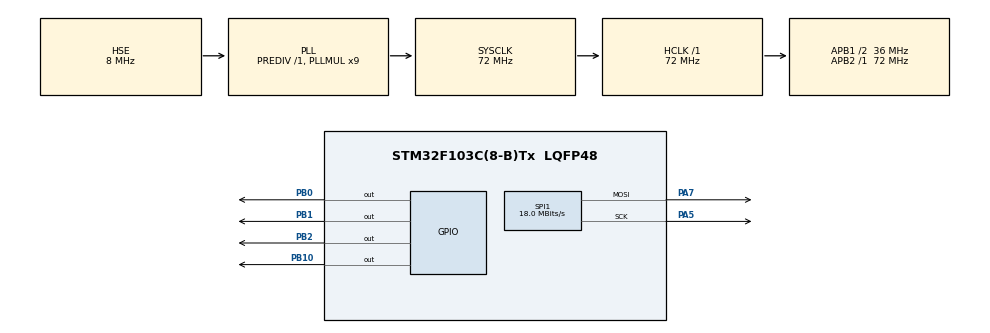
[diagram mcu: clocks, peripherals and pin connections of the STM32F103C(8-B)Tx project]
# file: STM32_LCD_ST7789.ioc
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Mcu.Family=STM32F1
Mcu.Name=STM32F103C(8-B)Tx
Mcu.Package=LQFP48
NVIC.PriorityGroup=NVIC_PRIORITYGROUP_4
NVIC.SPI1_IRQn=true\:0\:0\:false\:false\:true\:true\:true\:true
PA13.Mode=Serial_Wire
PA13.Signal=SYS_JTMS-SWDIO
PA14.Mode=Serial_Wire
PA14.Signal=SYS_JTCK-SWCLK
PA5.Mode=TX_Only_Simplex_Unidirect_Master
PA5.Signal=SPI1_SCK
PA7.Mode=TX_Only_Simplex_Unidirect_Master
PA7.Signal=SPI1_MOSI
PB0.GPIO_Speed=GPIO_SPEED_FREQ_HIGH
PB0.PinState=GPIO_PIN_SET
PB0.Signal=GPIO_Output
PB1.GPIO_Speed=GPIO_SPEED_FREQ_HIGH
PB1.PinState=GPIO_PIN_SET
PB1.Signal=GPIO_Output
PB10.GPIO_Speed=GPIO_SPEED_FREQ_HIGH
PB10.PinState=GPIO_PIN_SET
PB10.Signal=GPIO_Output
PB2.GPIO_Speed=GPIO_SPEED_FREQ_HIGH
PB2.PinState=GPIO_PIN_SET
PB2.Signal=GPIO_Output
PD0-OSC_IN.Mode=HSE-External-Oscillator
PD0-OSC_IN.Signal=RCC_OSC_IN
PD1-OSC_OUT.Mode=HSE-External-Oscillator
PD1-OSC_OUT.Signal=RCC_OSC_OUT
ProjectManager.HeapSize=0x200
ProjectManager.StackSize=0x400
ProjectManager.TargetToolchain=STM32CubeIDE
RCC.AHBFreq_Value=72000000
RCC.APB1CLKDivider=RCC_HCLK_DIV2
RCC.APB1Freq_Value=36000000
RCC.APB1TimFreq_Value=72000000
RCC.APB2Freq_Value=72000000
RCC.APB2TimFreq_Value=72000000
RCC.HCLKFreq_Value=72000000
RCC.PLLMUL=RCC_PLL_MUL9
RCC.PLLSourceVirtual=RCC_PLLSOURCE_HSE
RCC.SYSCLKFreq_VALUE=72000000
RCC.SYSCLKSource=RCC_SYSCLKSOURCE_PLLCLK
RCC.USBFreq_Value=72000000
SPI1.BaudRatePrescaler=SPI_BAUDRATEPRESCALER_4
SPI1.CalculateBaudRate=18.0 MBits/s
SPI1.Direction=SPI_DIRECTION_2LINES
SPI1.Mode=SPI_MODE_MASTER
SPI1.VirtualType=VM_MASTER
board=custom

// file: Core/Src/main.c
/* USER CODE BEGIN Header */
/**
  ******************************************************************************
  * @file           : main.c
  * @brief          : Main program body
  ******************************************************************************
  * @attention
  *
  * Copyright (c) 2024 STMicroelectronics.
  * All rights reserved.
  *
  * This software is licensed under terms that can be found in the LICENSE file
  * in the root directory of this software component.
  * If no LICENSE file comes with this software, it is provided AS-IS.
  *
  ******************************************************************************
  */
/* USER CODE END Header */
#include "main.h"

/* USER CODE BEGIN Includes */
#include "../../../lib/drivers/display/st7789/st7789.h"
#include "../../../lib/drivers/display/st7789/fonts.h"
#include "EmbedGLCD_GFX.h"
/* USER CODE END Includes */

/* USER CODE BEGIN PTD */
const uint16_t Font7x10 [] = {
0x0000, 0x0000, 0x0000, 0x0000, 0x0000, 0x0000, 0x0000, 0x0000, 0x0000, 0x0000,  // sp
0x1000, 0x1000, 0x1000, 0x1000, 0x1000, 0x1000, 0x0000, 0x1000, 0x0000, 0x0000,  // !
0x2800, 0x2800, 0x2800, 0x0000, 0x0000, 0x0000, 0x0000, 0x0000, 0x0000, 0x0000,  // "
0x2400, 0x2400, 0x7C00, 0x2400, 0x4800, 0x7C00, 0x4800, 0x4800, 0x0000, 0x0000,  // #
0x3800, 0x5400, 0x5000, 0x3800, 0x1400, 0x5400, 0x5400, 0x3800, 0x1000, 0x0000,  // $
0x2000, 0x5400, 0x5800, 0x3000, 0x2800, 0x5400, 0x1400, 0x0800, 0x0000, 0x0000,  // %
0x1000, 0x2800, 0x2800, 0x1000, 0x3400, 0x4800, 0x4800, 0x3400, 0x0000, 0x0000,  // &
0x1000, 0x1000, 0x1000, 0x0000, 0x0000, 0x0000, 0x0000, 0x0000, 0x0000, 0x0000,  // '
0x0800, 0x1000, 0x2000, 0x2000, 0x2000, 0x2000, 0x2000, 0x2000, 0x1000, 0x0800,  // (
0x2000, 0x1000, 0x0800, 0x0800, 0x0800, 0x0800, 0x0800, 0x0800, 0x1000, 0x2000,  // )
0x1000, 0x3800, 0x1000, 0x2800, 0x0000, 0x0000, 0x0000, 0x0000, 0x0000, 0x0000,  // *
0x0000, 0x0000, 0x1000, 0x1000, 0x7C00, 0x1000, 0x1000, 0x0000, 0x0000, 0x0000,  // +
0x0000, 0x0000, 0x0000, 0x0000, 0x0000, 0x0000, 0x0000, 0x1000, 0x1000, 0x1000,  // ,
0x0000, 0x0000, 0x0000, 0x0000, 0x0000, 0x3800, 0x0000, 0x0000, 0x0000, 0x0000,  // -
0x0000, 0x0000, 0x0000, 0x0000, 0x0000, 0x0000, 0x0000, 0x1000, 0x0000, 0x0000,  // .
0x0800, 0x0800, 0x1000, 0x1000, 0x1000, 0x1000, 0x2000, 0x2000, 0x0000, 0x0000,  // /
0x3800, 0x4400, 0x4400, 0x5400, 0x4400, 0x4400, 0x4400, 0x3800, 0x0000, 0x0000,  // 0
0x1000, 0x3000, 0x5000, 0x1000, 0x1000, 0x1000, 0x1000, 0x1000, 0x0000, 0x0000,  // 1
0x3800, 0x4400, 0x4400, 0x0400, 0x0800, 0x1000, 0x2000, 0x7C00, 0x0000, 0x0000,  // 2
0x3800, 0x4400, 0x0400, 0x1800, 0x0400, 0x0400, 0x4400, 0x3800, 0x0000, 0x0000,  // 3
0x0800, 0x1800, 0x2800, 0x2800, 0x4800, 0x7C00, 0x0800, 0x0800, 0x0000, 0x0000,  // 4
0x7C00, 0x4000, 0x4000, 0x7800, 0x0400, 0x0400, 0x4400, 0x3800, 0x0000, 0x0000,  // 5
0x3800, 0x4400, 0x4000, 0x7800, 0x4400, 0x4400, 0x4400, 0x3800, 0x0000, 0x0000,  // 6
0x7C00, 0x0400, 0x0800, 0x1000, 0x1000, 0x2000, 0x2000, 0x2000, 0x0000, 0x0000,  // 7
0x3800, 0x4400, 0x4400, 0x3800, 0x4400, 0x4400, 0x4400, 0x3800, 0x0000, 0x0000,  // 8
0x3800, 0x4400, 0x4400, 0x4400, 0x3C00, 0x0400, 0x4400, 0x3800, 0x0000, 0x0000,  // 9
0x0000, 0x0000, 0x1000, 0x0000, 0x0000, 0x0000, 0x0000, 0x1000, 0x0000, 0x0000,  // :
0x0000, 0x0000, 0x0000, 0x1000, 0x0000, 0x0000, 0x0000, 0x1000, 0x1000, 0x1000,  // ;
0x0000, 0x0000, 0x0C00, 0x3000, 0x4000, 0x3000, 0x0C00, 0x0000, 0x0000, 0x0000,  // <
0x0000, 0x0000, 0x0000, 0x7C00, 0x0000, 0x7C00, 0x0000, 0x0000, 0x0000, 0x0000,  // =
0x0000, 0x0000, 0x6000, 0x1800, 0x0400, 0x1800, 0x6000, 0x0000, 0x0000, 0x0000,  // >
0x3800, 0x4400, 0x0400, 0x0800, 0x1000, 0x1000, 0x0000, 0x1000, 0x0000, 0x0000,  // ?
0x3800, 0x4400, 0x4C00, 0x5400, 0x5C00, 0x4000, 0x4000, 0x3800, 0x0000, 0x0000,  // @
0x1000, 0x2800, 0x2800, 0x2800, 0x2800, 0x7C00, 0x4400, 0x4400, 0x0000, 0x0000,  // A
0x7800, 0x4400, 0x4400, 0x7800, 0x4400, 0x4400, 0x4400, 0x7800, 0x0000, 0x0000,  // B
0x3800, 0x4400, 0x4000, 0x4000, 0x4000, 0x4000, 0x4400, 0x3800, 0x0000, 0x0000,  // C
0x7000, 0x4800, 0x4400, 0x4400, 0x4400, 0x4400, 0x4800, 0x7000, 0x0000, 0x0000,  // D
0x7C00, 0x4000, 0x4000, 0x7C00, 0x4000, 0x4000, 0x4000, 0x7C00, 0x0000, 0x0000,  // E
0x7C00, 0x4000, 0x4000, 0x7800, 0x4000, 0x4000, 0x4000, 0x4000, 0x0000, 0x0000,  // F
0x3800, 0x4400, 0x4000, 0x4000, 0x5C00, 0x4400, 0x4400, 0x3800, 0x0000, 0x0000,  // G
0x4400, 0x4400, 0x4400, 0x7C00, 0x4400, 0x4400, 0x4400, 0x4400, 0x0000, 0x0000,  // H
0x3800, 0x1000, 0x1000, 0x1000, 0x1000, 0x1000, 0x1000, 0x3800, 0x0000, 0x0000,  // I
0x0400, 0x0400, 0x0400, 0x0400, 0x0400, 0x0400, 0x4400, 0x3800, 0x0000, 0x0000,  // J
0x4400, 0x4800, 0x5000, 0x6000, 0x5000, 0x4800, 0x4800, 0x4400, 0x0000, 0x0000,  // K
0x4000, 0x4000, 0x4000, 0x4000, 0x4000, 0x4000, 0x4000, 0x7C00, 0x0000, 0x0000,  // L
0x4400, 0x6C00, 0x6C00, 0x5400, 0x4400, 0x4400, 0x4400, 0x4400, 0x0000, 0x0000,  // M
0x4400, 0x6400, 0x6400, 0x5400, 0x5400, 0x4C00, 0x4C00, 0x4400, 0x0000, 0x0000,  // N
0x3800, 0x4400, 0x4400, 0x4400, 0x4400, 0x4400, 0x4400, 0x3800, 0x0000, 0x0000,  // O
0x7800, 0x4400, 0x4400, 0x4400, 0x7800, 0x4000, 0x4000, 0x4000, 0x0000, 0x0000,  // P
0x3800, 0x4400, 0x4400, 0x4400, 0x4400, 0x4400, 0x5400, 0x3800, 0x0400, 0x0000,  // Q
0x7800, 0x4400, 0x4400, 0x4400, 0x7800, 0x4800, 0x4800, 0x4400, 0x0000, 0x0000,  // R
0x3800, 0x4400, 0x4000, 0x3000, 0x0800, 0x0400, 0x4400, 0x3800, 0x0000, 0x0000,  // S
0x7C00, 0x1000, 0x1000, 0x1000, 0x1000, 0x1000, 0x1000, 0x1000, 0x0000, 0x0000,  // T
0x4400, 0x4400, 0x4400, 0x4400, 0x4400, 0x4400, 0x4400, 0x3800, 0x0000, 0x0000,  // U
0x4400, 0x4400, 0x4400, 0x2800, 0x2800, 0x2800, 0x1000, 0x1000, 0x0000, 0x0000,  // V
0x4400, 0x4400, 0x5400, 0x5400, 0x5400, 0x6C00, 0x2800, 0x2800, 0x0000, 0x0000,  // W
0x4400, 0x2800, 0x2800, 0x1000, 0x1000, 0x2800, 0x2800, 0x4400, 0x0000, 0x0000,  // X
0x4400, 0x4400, 0x2800, 0x2800, 0x1000, 0x1000, 0x1000, 0x1000, 0x0000, 0x0000,  // Y
0x7C00, 0x0400, 0x0800, 0x1000, 0x1000, 0x2000, 0x4000, 0x7C00, 0x0000, 0x0000,  // Z
0x1800, 0x1000, 0x1000, 0x1000, 0x1000, 0x1000, 0x1000, 0x1000, 0x1000, 0x1800,  // [
0x2000, 0x2000, 0x1000, 0x1000, 0x1000, 0x1000, 0x0800, 0x0800, 0x0000, 0x0000,  /* \ */
0x3000, 0x1000, 0x1000, 0x1000, 0x1000, 0x1000, 0x1000, 0x1000, 0x1000, 0x3000,  // ]
0x1000, 0x2800, 0x2800, 0x4400, 0x0000, 0x0000, 0x0000, 0x0000, 0x0000, 0x0000,  // ^
0x0000, 0x0000, 0x0000, 0x0000, 0x0000, 0x0000, 0x0000, 0x0000, 0x0000, 0xFE00,  // _
0x2000, 0x1000, 0x0000, 0x0000, 0x0000, 0x0000, 0x0000, 0x0000, 0x0000, 0x0000,  // `
0x0000, 0x0000, 0x3800, 0x4400, 0x3C00, 0x4400, 0x4C00, 0x3400, 0x0000, 0x0000,  // a
0x4000, 0x4000, 0x5800, 0x6400, 0x4400, 0x4400, 0x6400, 0x5800, 0x0000, 0x0000,  // b
0x0000, 0x0000, 0x3800, 0x4400, 0x4000, 0x4000, 0x4400, 0x3800, 0x0000, 0x0000,  // c
0x0400, 0x0400, 0x3400, 0x4C00, 0x4400, 0x4400, 0x4C00, 0x3400, 0x0000, 0x0000,  // d
0x0000, 0x0000, 0x3800, 0x4400, 0x7C00, 0x4000, 0x4400, 0x3800, 0x0000, 0x0000,  // e
0x0C00, 0x1000, 0x7C00, 0x1000, 0x1000, 0x1000, 0x1000, 0x1000, 0x0000, 0x0000,  // f
0x0000, 0x0000, 0x3400, 0x4C00, 0x4400, 0x4400, 0x4C00, 0x3400, 0x0400, 0x7800,  // g
0x4000, 0x4000, 0x5800, 0x6400, 0x4400, 0x4400, 0x4400, 0x4400, 0x0000, 0x0000,  // h
0x1000, 0x0000, 0x7000, 0x1000, 0x1000, 0x1000, 0x1000, 0x1000, 0x0000, 0x0000,  // i
0x1000, 0x0000, 0x7000, 0x1000, 0x1000, 0x1000, 0x1000, 0x1000, 0x1000, 0xE000,  // j
0x4000, 0x4000, 0x4800, 0x5000, 0x6000, 0x5000, 0x4800, 0x4400, 0x0000, 0x0000,  // k
0x7000, 0x1000, 0x1000, 0x1000, 0x1000, 0x1000, 0x1000, 0x1000, 0x0000, 0x0000,  // l
0x0000, 0x0000, 0x7800, 0x5400, 0x5400, 0x5400, 0x5400, 0x5400, 0x0000, 0x0000,  // m
0x0000, 0x0000, 0x5800, 0x6400, 0x4400, 0x4400, 0x4400, 0x4400, 0x0000, 0x0000,  // n
0x0000, 0x0000, 0x3800, 0x4400, 0x4400, 0x4400, 0x4400, 0x3800, 0x0000, 0x0000,  // o
0x0000, 0x0000, 0x5800, 0x6400, 0x4400, 0x4400, 0x6400, 0x5800, 0x4000, 0x4000,  // p
0x0000, 0x0000, 0x3400, 0x4C00, 0x4400, 0x4400, 0x4C00, 0x3400, 0x0400, 0x0400,  // q
0x0000, 0x0000, 0x5800, 0x6400, 0x4000, 0x4000, 0x4000, 0x4000, 0x0000, 0x0000,  // r
0x0000, 0x0000, 0x3800, 0x4400, 0x3000, 0x0800, 0x4400, 0x3800, 0x0000, 0x0000,  // s
0x2000, 0x2000, 0x7800, 0x2000, 0x2000, 0x2000, 0x2000, 0x1800, 0x0000, 0x0000,  // t
0x0000, 0x0000, 0x4400, 0x4400, 0x4400, 0x4400, 0x4C00, 0x3400, 0x0000, 0x0000,  // u
0x0000, 0x0000, 0x4400, 0x4400, 0x2800, 0x2800, 0x2800, 0x1000, 0x0000, 0x0000,  // v
0x0000, 0x0000, 0x5400, 0x5400, 0x5400, 0x6C00, 0x2800, 0x2800, 0x0000, 0x0000,  // w
0x0000, 0x0000, 0x4400, 0x2800, 0x1000, 0x1000, 0x2800, 0x4400, 0x0000, 0x0000,  // x
0x0000, 0x0000, 0x4400, 0x4400, 0x2800, 0x2800, 0x1000, 0x1000, 0x1000, 0x6000,  // y
0x0000, 0x0000, 0x7C00, 0x0800, 0x1000, 0x2000, 0x4000, 0x7C00, 0x0000, 0x0000,  // z
0x1800, 0x1000, 0x1000, 0x1000, 0x2000, 0x2000, 0x1000, 0x1000, 0x1000, 0x1800,  // {
0x1000, 0x1000, 0x1000, 0x1000, 0x1000, 0x1000, 0x1000, 0x1000, 0x1000, 0x1000,  // |
0x3000, 0x1000, 0x1000, 0x1000, 0x0800, 0x0800, 0x1000, 0x1000, 0x1000, 0x3000,  // }
0x0000, 0x0000, 0x0000, 0x7400, 0x4C00, 0x0000, 0x0000, 0x0000, 0x0000, 0x0000,  // ~
};
/* USER CODE END PTD */

SPI_HandleTypeDef hspi1;

void SystemClock_Config(void);
static void MX_GPIO_Init(void);
static void MX_SPI1_Init(void);

/* USER CODE BEGIN 0 */
ST7789_Config st7789;

/* USER CODE END 0 */

uint8_t status;
int main(void)
{

  /* MCU Configuration--------------------------------------------------------*/

  /* Reset of all peripherals, Initializes the Flash interface and the Systick. */
  HAL_Init();

  /* Configure the system clock */
  SystemClock_Config();

  /* Initialize all configured peripherals */
  MX_GPIO_Init();
  MX_SPI1_Init();
  /* USER CODE BEGIN 2 */
  ST7789_PinConfig(&st7789, &hspi1,
                       GPIOB, GPIO_PIN_0,
					   GPIOB, GPIO_PIN_1,
					   GPIOB, GPIO_PIN_10);
//  st7789.pins.RST_GPIO_Port = GPIOB;
//  st7789.pins.RST_Pin = GPIO_PIN_0;
//  st7789.pins.CS_GPIO_Port = GPIOB;
//  st7789.pins.CS_Pin = GPIO_PIN_1;
//  st7789.pins.DC_GPIO_Port = GPIOB;
//  st7789.pins.DC_Pin = GPIO_PIN_10;
//  st7789.pins.SPI_Port = &hspi1;
    status = ST7789_Init(&st7789);
  //ST7789_FillScreen(&st7789, ST7789_YELLOW);
  //ST7789_DrawImage(&st7789,0,0, 150,150, NaN);
  LCD_Driver lcd;
  lcd.Reset = (void (*)(void *))ST7789_Reset;
  lcd.WriteCommand = (void (*)(void *, uint8_t))ST7789_WriteCommand;
  lcd.WriteData = (void (*)(void *, uint8_t *, size_t))ST7789_WriteData;
  lcd.WriteData8 = (void (*)(void *, uint8_t))ST7789_WriteData8;
  lcd.WriteData16 = (void (*)(void *, uint16_t))ST7789_WriteData16;
  lcd.SetAddressWindow = (void (*)(void *, uint16_t, uint16_t, uint16_t, uint16_t))ST7789_SetAddressWindow;
  lcd.SetCursor = (void (*)(void *, uint16_t, uint16_t))ST7789_SetCursor;
  lcd.WriteRAMPrepare = (void (*)(void *))ST7789_WriteRAMPrepare;

  ST7789_FillScreen(&st7789, ST7789_WHITE);
  ST7789_DrawChar(&st7789, 10, 10, 'A', 0xFFFF, 0x0000, Font7x10);
  /* USER CODE END 2 */

  /* Infinite loop */
  while (1)
  {

    /* USER CODE BEGIN 3 */
//	  ST7789_FillScreen(&st7789, ST7789_GREEN);
//	  HAL_Delay(500);
//	  ST7789_FillScreen(&st7789, ST7789_BLACK);
//	  HAL_Delay(500);
//	  ST7789_FillScreen(&st7789, ST7789_BLUE);
//	  HAL_Delay(500);
//	  ST7789_FillScreen(&st7789, ST7789_RED);
//	  HAL_Delay(500);
  }
  /* USER CODE END 3 */
}

void SystemClock_Config(void)
{
  RCC_OscInitTypeDef RCC_OscInitStruct = {0};
  RCC_ClkInitTypeDef RCC_ClkInitStruct = {0};

  /** Initializes the RCC Oscillators according to the specified parameters
  * in the RCC_OscInitTypeDef structure.
  */
  RCC_OscInitStruct.OscillatorType = RCC_OSCILLATORTYPE_HSE;
  RCC_OscInitStruct.HSEState = RCC_HSE_ON;
  RCC_OscInitStruct.HSEPredivValue = RCC_HSE_PREDIV_DIV1;
  RCC_OscInitStruct.HSIState = RCC_HSI_ON;
  RCC_OscInitStruct.PLL.PLLState = RCC_PLL_ON;
  RCC_OscInitStruct.PLL.PLLSource = RCC_PLLSOURCE_HSE;
  RCC_OscInitStruct.PLL.PLLMUL = RCC_PLL_MUL9;
  if (HAL_RCC_OscConfig(&RCC_OscInitStruct) != HAL_OK)
  {
    Error_Handler();
  }

  /** Initializes the CPU, AHB and APB buses clocks
  */
  RCC_ClkInitStruct.ClockType = RCC_CLOCKTYPE_HCLK|RCC_CLOCKTYPE_SYSCLK
                              |RCC_CLOCKTYPE_PCLK1|RCC_CLOCKTYPE_PCLK2;
  RCC_ClkInitStruct.SYSCLKSource = RCC_SYSCLKSOURCE_PLLCLK;
  RCC_ClkInitStruct.AHBCLKDivider = RCC_SYSCLK_DIV1;
  RCC_ClkInitStruct.APB1CLKDivider = RCC_HCLK_DIV2;
  RCC_ClkInitStruct.APB2CLKDivider = RCC_HCLK_DIV1;

  if (HAL_RCC_ClockConfig(&RCC_ClkInitStruct, FLASH_LATENCY_2) != HAL_OK)
  {
    Error_Handler();
  }
}

static void MX_SPI1_Init(void)
{

  /* SPI1 parameter configuration*/
  hspi1.Instance = SPI1;
  hspi1.Init.Mode = SPI_MODE_MASTER;
  hspi1.Init.Direction = SPI_DIRECTION_2LINES;
  hspi1.Init.DataSize = SPI_DATASIZE_8BIT;
  hspi1.Init.CLKPolarity = SPI_POLARITY_LOW;
  hspi1.Init.CLKPhase = SPI_PHASE_1EDGE;
  hspi1.Init.NSS = SPI_NSS_SOFT;
  hspi1.Init.BaudRatePrescaler = SPI_BAUDRATEPRESCALER_4;
  hspi1.Init.FirstBit = SPI_FIRSTBIT_MSB;
  hspi1.Init.TIMode = SPI_TIMODE_DISABLE;
  hspi1.Init.CRCCalculation = SPI_CRCCALCULATION_DISABLE;
  hspi1.Init.CRCPolynomial = 10;
  if (HAL_SPI_Init(&hspi1) != HAL_OK)
  {
    Error_Handler();
  }

}

static void MX_GPIO_Init(void)
{
  GPIO_InitTypeDef GPIO_InitStruct = {0};

  /* GPIO Ports Clock Enable */
  __HAL_RCC_GPIOD_CLK_ENABLE();
  __HAL_RCC_GPIOA_CLK_ENABLE();
  __HAL_RCC_GPIOB_CLK_ENABLE();

  /*Configure GPIO pin Output Level */
  HAL_GPIO_WritePin(GPIOB, GPIO_PIN_0|GPIO_PIN_1|GPIO_PIN_2|GPIO_PIN_10, GPIO_PIN_SET);

  /*Configure GPIO pins : PB0 PB1 PB2 PB10 */
  GPIO_InitStruct.Pin = GPIO_PIN_0|GPIO_PIN_1|GPIO_PIN_2|GPIO_PIN_10;
  GPIO_InitStruct.Mode = GPIO_MODE_OUTPUT_PP;
  GPIO_InitStruct.Pull = GPIO_NOPULL;
  GPIO_InitStruct.Speed = GPIO_SPEED_FREQ_HIGH;
  HAL_GPIO_Init(GPIOB, &GPIO_InitStruct);

}

void Error_Handler(void)
{
  __disable_irq();
  while (1)
  {
  }
}
